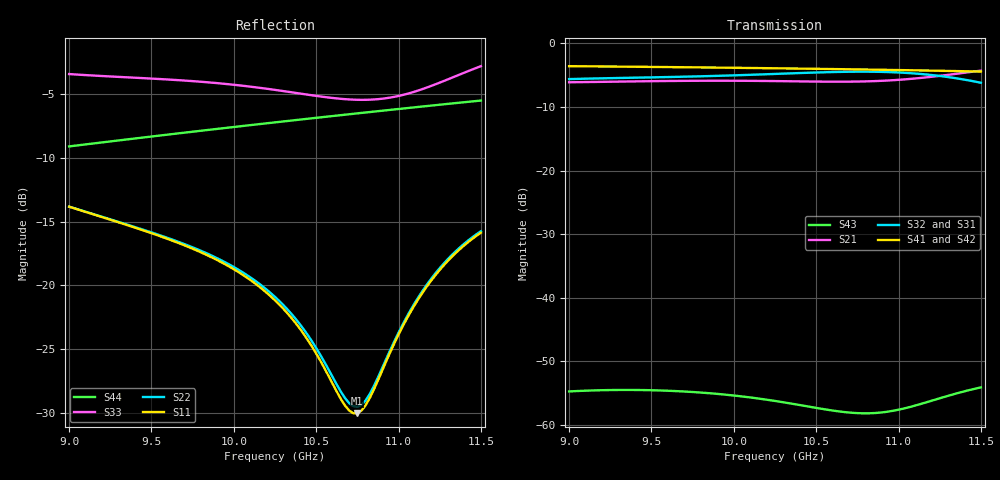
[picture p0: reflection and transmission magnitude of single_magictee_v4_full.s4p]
! Generated from PyAEDT SolutionData; AEDT ExportNetworkData workaround
# GHz S MA R 50
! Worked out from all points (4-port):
!   101 points, 9 GHz to 11.5 GHz, reference 50 ohm
!   strongest paths, dB at 9 GHz, 9.625 GHz, 10.25 GHz, 10.88 GHz, 11.5 GHz:
!     S41: -3.6, -3.7, -3.9, -4.1, -4.4
!     S42: -3.6, -3.7, -3.9, -4.2, -4.5
!     S32: -5.6, -5.3, -4.8, -4.5, -6.2
!     S31: -5.6, -5.3, -4.8, -4.5, -6.2
!     S21: -6.1, -5.9, -5.9, -5.9, -4.3
!     S43: -54.7, -54.6, -56.2, -58.1, -54.1
!   lowest |S11| = -30.0 dB at 10.75 GHz (marker M1), VSWR 1.07, Z = 52.9 + j1.46 ohm
!   |S11| at or under -10 dB: start of sweep to end of sweep
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9  0.2032 148.4  0.4954 -176.6  0.5233 -91.6  0.6629 44.7
   0.4954 -176.6  0.2034 147.8  0.5246 -91.4  0.6619 -135.3
   0.5233 -91.6  0.5246 -91.4  0.6716 -176.4  0.001835 -83.0
   0.6629 44.7  0.6619 -135.3  0.001835 -83.0  0.3499 -113.7
9.375  0.1703 108.6  0.5028 142.6  0.536 -156.3  0.6564 1.8
       0.5028 142.6  0.1711 108.0  0.5375 -156.1  0.655 -178.2
       0.536 -156.3  0.5375 -156.1  0.651 93.5  0.001885 -155.6
       0.6564 1.8  0.655 -178.2  0.001885 -155.6  0.3742 -153.8
9.75  0.1392 69.5  0.5086 102.7  0.5482 140.5  0.6492 -39.7
      0.5086 102.7  0.1409 68.9  0.5499 140.7  0.6473 140.3
      0.5482 140.5  0.5499 140.7  0.6301 5.6  0.001815 133.9
      0.6492 -39.7  0.6473 140.3  0.001815 133.9  0.3994 166.8
10.175  0.09648 25.7  0.5073 59.0  0.5692 69.2  0.6398 -85.4
        0.5073 59.0  0.0991 25.3  0.5714 69.5  0.6375 94.6
        0.5692 69.2  0.5714 69.5  0.5912 -95.1  0.001596 58.3
        0.6398 -85.4  0.6375 94.6  0.001596 58.3  0.4292 122.9
10.75  0.03158 25.9  0.5018 5.4  0.597 -31.0  0.6251 -145.9
       0.5018 5.4  0.03347 23.4  0.5999 -30.8  0.6223 34.3
       0.597 -31.0  0.5999 -30.8  0.5326 111.7  0.001239 -24.6
       0.6251 -145.9  0.6223 34.3  0.001239 -24.6  0.4712 64.4
11.15  0.09452 34.5  0.5382 -28.5  0.5705 -105.3  0.6131 172.7
       0.5382 -28.5  0.09607 34.0  0.5733 -105.1  0.6102 -7.0
       0.5705 -105.3  0.5733 -105.1  0.588 -10.2  0.001481 -72.0
       0.6131 172.7  0.6102 -7.0  0.001481 -72.0  0.5017 23.9
11.5  0.1608 -8.5  0.6113 -60.8  0.4888 -171.2  0.6013 136.7
      0.6113 -60.8  0.1629 -7.9  0.491 -171.0  0.5989 -42.9
      0.4888 -171.2  0.491 -171.0  0.7211 -111.6  0.001973 -129.8
      0.6013 136.7  0.5989 -42.9  0.001973 -129.8  0.5289 -11.3
